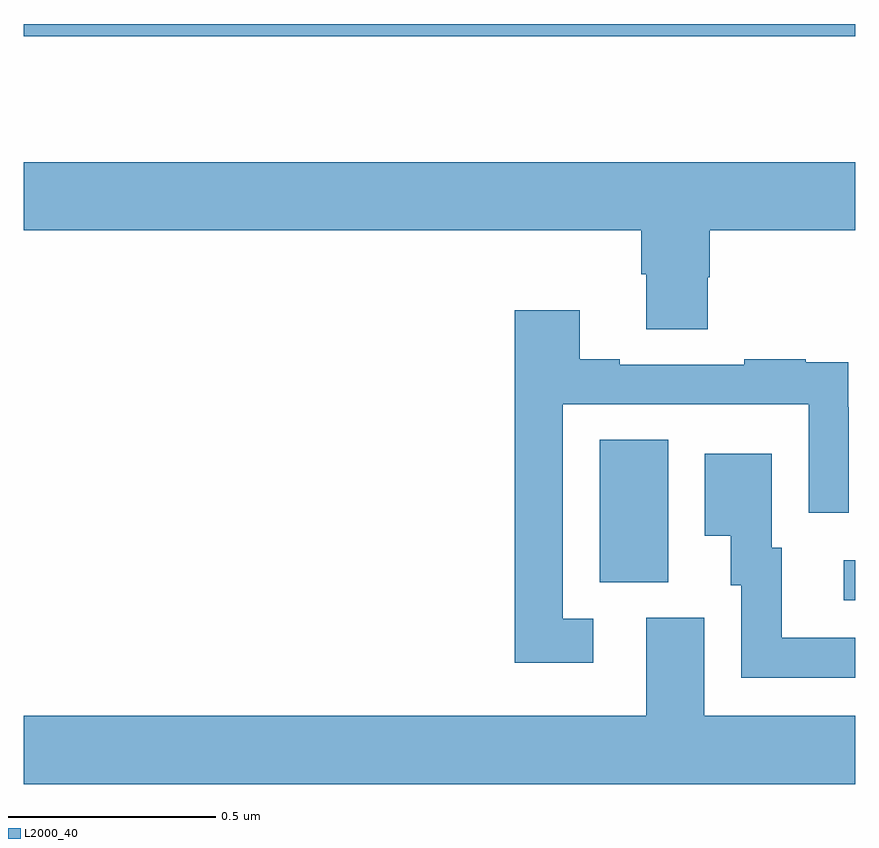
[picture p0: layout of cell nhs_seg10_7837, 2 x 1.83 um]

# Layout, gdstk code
import gdstk
lib = gdstk.Library(unit=1e-6, precision=1e-09)
def R(c, l, rs):  # rectangles x0, y0, x1, y1
    for r in rs: c.add(gdstk.rectangle(r[:2], r[2:], *l))
def P(c, l, *ps):  # polygons
    for p in ps: c.add(gdstk.Polygon(p, *l))
L2000_40 = (2000, 40)

nhs_seg10_7837 = lib.new_cell('nhs_seg10_7837')
R(nhs_seg10_7837, L2000_40, [(210.972,1278.114,211,1278.21), (210.386,1278.157,210.55,1278.5), (209,1279.47,211,1279.5)])
P(nhs_seg10_7837, L2000_40, [(210.645,1278.891),(210.65,1278.891),(210.65,1279.004),(211,1279.004),(211,1279.168),(209,1279.168),(209,1279.004),(210.485,1279.004),(210.485,1278.898),(210.497,1278.898),(210.497,1278.766),(210.645,1278.766)],
  [(210.37,1278.069),(210.297,1278.069),(210.297,1278.585),(210.888,1278.585),(210.888,1278.324),(210.984,1278.324),(210.984,1278.578),(210.983,1278.578),(210.983,1278.687),(210.881,1278.687),(210.881,1278.694),(210.733,1278.694),(210.733,1278.681),(210.433,1278.681),(210.433,1278.694),(210.337,1278.694),(210.337,1278.811),(210.181,1278.811),(210.181,1277.964),(210.37,1277.964)],
  [(211,1278.024),(210.823,1278.024),(210.823,1278.24),(210.799,1278.24),(210.799,1278.466),(210.638,1278.466),(210.638,1278.269),(210.701,1278.269),(210.701,1278.15),(210.726,1278.15),(210.726,1277.928),(211,1277.928)],
  [(211,1277.836),(210.637,1277.836),(210.637,1278.072),(210.497,1278.072),(210.497,1277.836),(209,1277.836),(209,1277.672),(211,1277.672)])

lib.write_gds('nhs_seg10_7837.gds')
